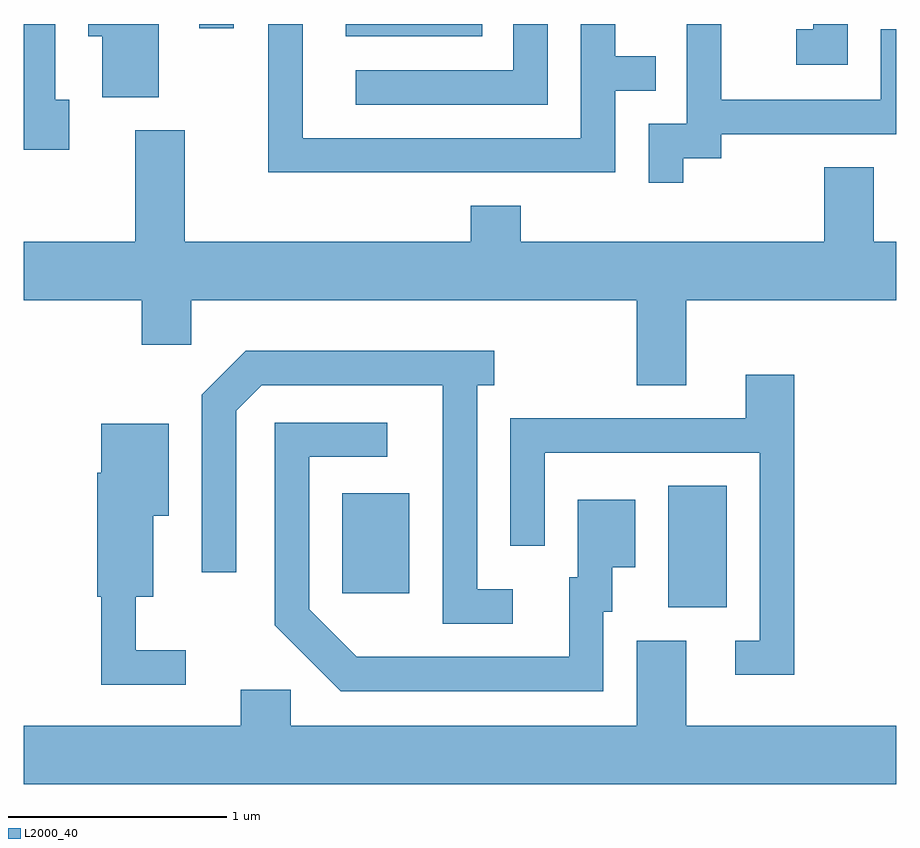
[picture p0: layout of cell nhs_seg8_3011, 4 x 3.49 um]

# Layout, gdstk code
import gdstk
lib = gdstk.Library(unit=1e-6, precision=1e-09)
def R(c, l, rs):  # rectangles x0, y0, x1, y1
    for r in rs: c.add(gdstk.rectangle(r[:2], r[2:], *l))
def P(c, l, *ps):  # polygons
    for p in ps: c.add(gdstk.Polygon(p, *l))
L2000_40 = (2000, 40)

nhs_seg8_3011 = lib.new_cell('nhs_seg8_3011')
R(nhs_seg8_3011, L2000_40, [(278.566,1841.666,278.834,1842.224), (277.071,1841.731,277.379,1842.189), (277.086,1844.286,277.713,1844.342), (276.416,1844.323,276.574,1844.342)])
P(nhs_seg8_3011, L2000_40, [(279.389,1844.342),(279.231,1844.342),(279.231,1844.319),(279.153,1844.319),(279.153,1844.156),(279.389,1844.156)],
  [(276.229,1844.342),(275.906,1844.342),(275.906,1844.286),(275.971,1844.286),(275.971,1844.006),(276.229,1844.006)],
  [(278.014,1844.342),(277.856,1844.342),(277.856,1844.129),(277.133,1844.129),(277.133,1843.971),(278.014,1843.971)],
  [(275.819,1843.994),(275.754,1843.994),(275.754,1844.342),(275.611,1844.342),(275.611,1843.766),(275.819,1843.766)],
  [(278.634,1843.726),(278.809,1843.726),(278.809,1843.836),(279.611,1843.836),(279.611,1844.319),(279.541,1844.319),(279.541,1843.994),(278.809,1843.994),(278.809,1844.342),(278.651,1844.342),(278.651,1843.884),(278.476,1843.884),(278.476,1843.613),(278.634,1843.613)],
  [(278.324,1844.036),(278.508,1844.036),(278.508,1844.194),(278.324,1844.194),(278.324,1844.342),(278.166,1844.342),(278.166,1843.819),(276.889,1843.819),(276.889,1844.342),(276.731,1844.342),(276.731,1843.661),(278.324,1843.661)],
  [(277.889,1843.509),(277.661,1843.509),(277.661,1843.344),(276.349,1843.344),(276.349,1843.854),(276.121,1843.854),(276.121,1843.344),(275.611,1843.344),(275.611,1843.076),(276.151,1843.076),(276.151,1842.871),(276.379,1842.871),(276.379,1843.076),(278.421,1843.076),(278.421,1842.686),(278.649,1842.686),(278.649,1843.076),(279.611,1843.076),(279.611,1843.344),(279.509,1843.344),(279.509,1843.684),(279.281,1843.684),(279.281,1843.344),(277.889,1843.344)],
  [(277.853,1841.749),(277.689,1841.749),(277.689,1842.686),(277.768,1842.686),(277.768,1842.844),(276.629,1842.844),(276.426,1842.642),(276.426,1841.828),(276.584,1841.828),(276.584,1842.569),(276.702,1842.686),(277.531,1842.686),(277.531,1841.591),(277.853,1841.591)],
  [(279.144,1842.734),(278.921,1842.734),(278.921,1842.534),(277.841,1842.534),(277.841,1841.948),(277.999,1841.948),(277.999,1842.376),(278.986,1842.376),(278.986,1841.514),(278.873,1841.514),(278.873,1841.356),(279.144,1841.356)],
  [(278.269,1841.646),(278.309,1841.646),(278.309,1841.851),(278.414,1841.851),(278.414,1842.159),(278.151,1842.159),(278.151,1841.804),(278.111,1841.804),(278.111,1841.439),(277.137,1841.439),(276.919,1841.657),(276.919,1842.356),(277.278,1842.356),(277.278,1842.514),(276.761,1842.514),(276.761,1841.584),(277.064,1841.281),(278.269,1841.281)],
  [(276.353,1841.469),(276.124,1841.469),(276.124,1841.716),(276.204,1841.716),(276.204,1842.086),(276.274,1842.086),(276.274,1842.509),(275.966,1842.509),(275.966,1842.284),(275.946,1842.284),(275.946,1841.716),(275.966,1841.716),(275.966,1841.311),(276.353,1841.311)],
  [(279.611,1841.124),(278.649,1841.124),(278.649,1841.514),(278.421,1841.514),(278.421,1841.124),(276.834,1841.124),(276.834,1841.289),(276.606,1841.289),(276.606,1841.124),(275.611,1841.124),(275.611,1840.856),(279.611,1840.856)])

lib.write_gds('nhs_seg8_3011.gds')
